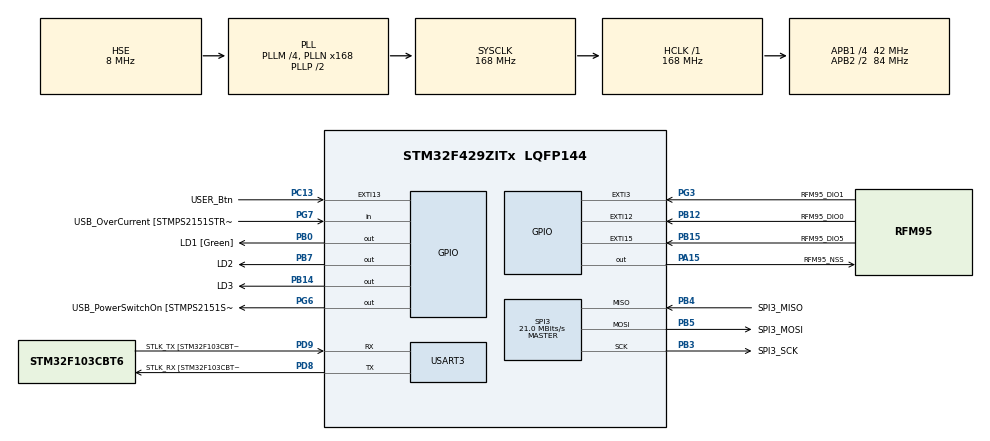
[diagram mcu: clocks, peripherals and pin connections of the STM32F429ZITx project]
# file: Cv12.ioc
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Mcu.Family=STM32F4
Mcu.Name=STM32F429ZITx
Mcu.Package=LQFP144
NVIC.EXTI15_10_IRQn=true\:0\:0\:false\:false\:true\:true\:true\:true
NVIC.EXTI3_IRQn=true\:0\:0\:false\:false\:true\:true\:true\:true
NVIC.PriorityGroup=NVIC_PRIORITYGROUP_4
PA1.GPIO_Label=RMII_REF_CLK [LAN8742A-CZ-TR_REFCLK0]
PA1.Signal=ETH_REF_CLK
PA10.GPIO_Label=USB_ID
PA10.Signal=USB_OTG_FS_ID
PA11.GPIO_Label=USB_DM
PA11.Signal=USB_OTG_FS_DM
PA12.GPIO_Label=USB_DP
PA12.Signal=USB_OTG_FS_DP
PA13.GPIO_Label=TMS
PA13.Mode=Serial_Wire
PA13.Signal=SYS_JTMS-SWDIO
PA14.GPIO_Label=TCK
PA14.Mode=Serial_Wire
PA14.Signal=SYS_JTCK-SWCLK
PA15.GPIO_Label=RFM95_NSS
PA15.Signal=GPIO_Output
PA2.GPIO_Label=RMII_MDIO [LAN8742A-CZ-TR_MDIO]
PA2.Signal=ETH_MDIO
PA7.GPIO_Label=RMII_CRS_DV [LAN8742A-CZ-TR_CRS_DV]
PA7.Signal=ETH_CRS_DV
PA8.GPIO_Label=USB_SOF [TP1]
PA8.Signal=USB_OTG_FS_SOF
PA9.GPIO_Label=USB_VBUS
PA9.Signal=USB_OTG_FS_VBUS
PB0.GPIO_Label=LD1 [Green]
PB0.Signal=GPIO_Output
PB12.GPIO_Label=RFM95_DIO0
PB12.Signal=GPXTI12
PB13.GPIO_Label=RMII_TXD1 [LAN8742A-CZ-TR_TXD1]
PB13.Signal=ETH_TXD1
PB14.GPIO_Label=LD3
PB14.Signal=GPIO_Output
PB15.GPIO_Label=RFM95_DIO5
PB15.Signal=GPXTI15
PB3.GPIO_Label=SPI3_SCK
PB3.Mode=Full_Duplex_Master
PB3.Signal=SPI3_SCK
PB4.GPIO_Label=SPI3_MISO
PB4.Mode=Full_Duplex_Master
PB4.Signal=SPI3_MISO
PB5.GPIO_Label=SPI3_MOSI
PB5.Mode=Full_Duplex_Master
PB5.Signal=SPI3_MOSI
PB7.GPIO_Label=LD2
PB7.Signal=GPIO_Output
PC1.GPIO_Label=RMII_MDC [LAN8742A-CZ-TR_MDC]
PC1.Signal=ETH_MDC
PC13.GPIO_Label=USER_Btn
PC13.GPIO_PuPd=GPIO_PULLUP
PC13.Signal=GPXTI13
PC14/OSC32_IN.Mode=LSE-External-Oscillator
PC14/OSC32_IN.Signal=RCC_OSC32_IN
PC15/OSC32_OUT.Mode=LSE-External-Oscillator
PC15/OSC32_OUT.Signal=RCC_OSC32_OUT
PC4.GPIO_Label=RMII_RXD0 [LAN8742A-CZ-TR_RXD0]
PC4.Signal=ETH_RXD0
PC5.GPIO_Label=RMII_RXD1 [LAN8742A-CZ-TR_RXD1]
PC5.Signal=ETH_RXD1
PD8.GPIO_Label=STLK_RX [STM32F103CBT6_PA3]
PD8.Mode=Asynchronous
PD8.Signal=USART3_TX
PD9.GPIO_Label=STLK_TX [STM32F103CBT6_PA2]
PD9.Mode=Asynchronous
PD9.Signal=USART3_RX
PG11.GPIO_Label=RMII_TX_EN [LAN8742A-CZ-TR_TXEN]
PG11.Signal=ETH_TX_EN
PG13.GPIO_Label=RMII_TXD0 [LAN8742A-CZ-TR_TXD0]
PG13.Signal=ETH_TXD0
PG3.GPIO_Label=RFM95_DIO1
PG3.Signal=GPXTI3
PG6.GPIO_Label=USB_PowerSwitchOn [STMPS2151STR_EN]
PG6.Signal=GPIO_Output
PG7.GPIO_Label=USB_OverCurrent [STMPS2151STR_FAULT]
PG7.Signal=GPIO_Input
PH0/OSC_IN.GPIO_Label=MCO [STM32F103CBT6_PA8]
PH0/OSC_IN.Mode=HSE-External-Clock-Source
PH0/OSC_IN.Signal=RCC_OSC_IN
PH1/OSC_OUT.Mode=HSE-External-Clock-Source
PH1/OSC_OUT.Signal=RCC_OSC_OUT
ProjectManager.HeapSize=0x200
ProjectManager.StackSize=0x400
ProjectManager.TargetToolchain=STM32CubeIDE
RCC.48MHZClocksFreq_Value=48000000
RCC.AHBFreq_Value=168000000
RCC.APB1CLKDivider=RCC_HCLK_DIV4
RCC.APB1Freq_Value=42000000
RCC.APB1TimFreq_Value=84000000
RCC.APB2CLKDivider=RCC_HCLK_DIV2
RCC.APB2Freq_Value=84000000
RCC.APB2TimCLKDivider=2
RCC.APB2TimFreq_Value=168000000
RCC.CortexFreq_Value=168000000
RCC.HCLKFreq_Value=168000000
RCC.HSE_VALUE=8000000
RCC.HSI_VALUE=16000000
RCC.PLLM=4
RCC.PLLMUL=RCC_PLL_MUL9
RCC.PLLN=168
RCC.PLLQ=7
RCC.PLLSourceVirtual=RCC_PLLSOURCE_HSE
RCC.PRESCALERUSB=RCC_USBCLKSOURCE_PLL_DIV1_5
RCC.SYSCLKFreq_VALUE=168000000
RCC.SYSCLKSource=RCC_SYSCLKSOURCE_PLLCLK
RCC.SYSCLKSourceVirtual=RCC_SYSCLKSOURCE_PLLCLK
RCC.USBFreq_Value=48000000
RCC.VCOOutputFreq_Value=336000000
SPI3.CalculateBaudRate=21.0 MBits/s
SPI3.Direction=SPI_DIRECTION_2LINES
SPI3.Mode=SPI_MODE_MASTER
SPI3.VirtualType=VM_MASTER
TIM2.Prescaler=4199
USART3.VirtualMode=VM_ASYNC
VP_RNG_VS_RNG.Mode=RNG_Activate
VP_TIM2_VS_ClockSourceINT.Mode=Internal
board=NUCLEO-F429ZI

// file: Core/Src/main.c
/* USER CODE BEGIN Header */
/**
  ******************************************************************************
  * @file           : main.c
  * @brief          : Main program body
  ******************************************************************************
  * @attention
  *
  * Copyright (c) 2025 STMicroelectronics.
  * All rights reserved.
  *
  * This software is licensed under terms that can be found in the LICENSE file
  * in the root directory of this software component.
  * If no LICENSE file comes with this software, it is provided AS-IS.
  *
  ******************************************************************************
  */
/* USER CODE END Header */
#include "main.h"

/* USER CODE BEGIN Includes */
#include "rfm95.h"
#include <stdio.h>
#include <string.h>
/* USER CODE END Includes */

RNG_HandleTypeDef hrng;

SPI_HandleTypeDef hspi3;

TIM_HandleTypeDef htim2;

UART_HandleTypeDef huart3;

/* USER CODE BEGIN PV */

rfm95_handle_t rfm95_handle;

static uint32_t get_precision_tick(void);
static void     precision_sleep_until(uint32_t target_ticks);
static uint8_t  random_int(uint8_t max);

static uint32_t last_send_tick = 0;
static uint32_t msg_counter = 0;

#define VUTID "246801"

static volatile uint8_t rfm95_ready = 0;

/* USER CODE END PV */

void SystemClock_Config(void);
static void MX_GPIO_Init(void);
static void MX_USART3_UART_Init(void);
static void MX_SPI3_Init(void);
static void MX_TIM2_Init(void);
static void MX_RNG_Init(void);

/* USER CODE BEGIN 0 */

static uint32_t get_precision_tick(void)
{
    return __HAL_TIM_GET_COUNTER(&htim2);
}

static void precision_sleep_until(uint32_t target_ticks)
{
    while (get_precision_tick() < target_ticks) {
        /* do nothing */
    }
}

static uint8_t random_int(uint8_t max)
{
    uint32_t rng;
    HAL_RNG_GenerateRandomNumber(&hrng, &rng);
    return (uint8_t)(rng % (max + 1u));
}

void HAL_GPIO_EXTI_Callback(uint16_t GPIO_Pin)
{
    if (!rfm95_ready) {
        return;
    }
    if (GPIO_Pin == RFM95_DIO0_Pin) {
        rfm95_on_interrupt(&rfm95_handle, RFM95_INTERRUPT_DIO0);
    } else if (GPIO_Pin == RFM95_DIO1_Pin) {
        rfm95_on_interrupt(&rfm95_handle, RFM95_INTERRUPT_DIO1);
    } else if (GPIO_Pin == RFM95_DIO5_Pin) {
        rfm95_on_interrupt(&rfm95_handle, RFM95_INTERRUPT_DIO5);
    }
}

/* USER CODE END 0 */

int main(void)
{

  /* MCU Configuration--------------------------------------------------------*/

  /* Reset of all peripherals, Initializes the Flash interface and the Systick. */
  HAL_Init();

  /* Configure the system clock */
  SystemClock_Config();

  /* Initialize all configured peripherals */
  MX_GPIO_Init();
  MX_USART3_UART_Init();
  MX_SPI3_Init();
  MX_TIM2_Init();
  MX_RNG_Init();
  /* USER CODE BEGIN 2 */

  HAL_TIM_Base_Start(&htim2);

  // Create the handle for the RFM95 module.

  memset(&rfm95_handle, 0, sizeof(rfm95_handle));

  rfm95_handle.spi_handle = &hspi3;
  rfm95_handle.nss_port   = RFM95_NSS_GPIO_Port;
  rfm95_handle.nss_pin    = RFM95_NSS_Pin;

  rfm95_handle.nrst_port  = NULL;
  rfm95_handle.nrst_pin   = 0;

  rfm95_handle.device_address[0] = 0x26;
  rfm95_handle.device_address[1] = 0x0B;
  rfm95_handle.device_address[2] = 0x04;
  rfm95_handle.device_address[3] = 0x76;

  uint8_t app_key[16] = {
      0x40, 0x0A, 0xE6, 0x65, 0x1A, 0xA8, 0x92, 0x92,
      0x12, 0xC0, 0x08, 0xEC, 0xC2, 0xC1, 0x53, 0x72
  };
  uint8_t net_key[16] = {
      0x80, 0x70, 0x52, 0xDA, 0x22, 0x5F, 0x54, 0xC3, 0xB8,
      0xDC, 0xAD, 0xA1, 0x8A, 0xF2, 0x85, 0x34
  };

  memcpy(rfm95_handle.application_session_key, app_key, 16);
  memcpy(rfm95_handle.network_session_key,     net_key, 16);

  rfm95_handle.precision_tick_frequency      = 20000;
  rfm95_handle.precision_tick_drift_ns_per_s = 5000;
  rfm95_handle.receive_mode                  = RFM95_RECEIVE_MODE_NONE;
  rfm95_handle.get_precision_tick            = get_precision_tick;
  rfm95_handle.precision_sleep_until         = precision_sleep_until;
  rfm95_handle.random_int                    = random_int;

  rfm95_handle.get_battery_level             = NULL;

  /*rfm95_handle_t rfm95_handle = {
		  .spi_handle = &hspi3,
		  .nss_port = RFM95_NSS_GPIO_Port,
		  .nss_pin = RFM95_NSS_Pin,
		  .device_address = {
				  0x26, 0x0B, 0x04, 0x76
		  },
		  .application_session_key = {
				  0x40, 0x0A, 0xE6, 0x65, 0x1A, 0xA8, 0x92, 0x92,
				  0x12, 0xC0, 0x08, 0xEC, 0xC2, 0xC1, 0x53, 0x72
		  },
		  .network_session_key = {
				  0x80, 0x70, 0x52, 0xDA, 0x22, 0x5F, 0x54, 0xC3, 0xB8,
				  0xDC, 0xAD, 0xA1, 0x8A, 0xF2, 0x85, 0x34
		  },
		  .receive_mode = RFM95_RECEIVE_MODE_NONE,
		  .precision_tick_frequency = 20000,
		  .receive_mode = RFM95_RECEIVE_MODE_RX12,
		  .get_precision_tick = get_precision_tick,
		  .precision_sleep_until = precision_sleep_until,
		  .random_int = random_int,
  };*/

  if (!rfm95_init(&rfm95_handle)) {
      HAL_GPIO_WritePin(LD3_GPIO_Port, LD3_Pin, GPIO_PIN_SET);
      while (1) {}
  }
  rfm95_ready = 1;

  /* USER CODE END 2 */

  /* Infinite loop */
  while (1)
  {

    /* USER CODE BEGIN 3 */
/*	  HAL_GPIO_WritePin(LD2_GPIO_Port, LD2_Pin, GPIO_PIN_SET);
      HAL_Delay(5000);
      HAL_GPIO_WritePin(LD2_GPIO_Port, LD2_Pin, GPIO_PIN_RESET);
      HAL_Delay(500);
*/

	  uint32_t now = HAL_GetTick();

	  static uint8_t last_btn_state = GPIO_PIN_SET;

	  uint8_t btn = HAL_GPIO_ReadPin(USER_Btn_GPIO_Port, USER_Btn_Pin);

	  if (last_btn_state == GPIO_PIN_SET && btn == GPIO_PIN_RESET)
	  {
	      char buf[32];
	      int len = snprintf(buf, sizeof(buf), "%s;press", VUTID);

	      HAL_GPIO_WritePin(LD2_GPIO_Port, LD2_Pin, GPIO_PIN_SET);
	      rfm95_send_receive_cycle(&rfm95_handle, (uint8_t*)buf, strlen(buf));
	      HAL_GPIO_WritePin(LD2_GPIO_Port, LD2_Pin, GPIO_PIN_RESET);
	  }

	  last_btn_state = btn;

	  HAL_Delay(10);

	  if (now - last_send_tick >= 30000) {

	      char buf[32];
	      int len = snprintf(buf, sizeof(buf), "%s;%lu", VUTID, msg_counter++);

	      HAL_GPIO_WritePin(LD2_GPIO_Port, LD2_Pin, GPIO_PIN_SET);
	      rfm95_send_receive_cycle(&rfm95_handle, (uint8_t*)buf, strlen(buf));
	      HAL_GPIO_WritePin(LD2_GPIO_Port, LD2_Pin, GPIO_PIN_RESET);

	      last_send_tick = now;
	  }

  }
  /* USER CODE END 3 */
}

void SystemClock_Config(void)
{
  RCC_OscInitTypeDef RCC_OscInitStruct = {0};
  RCC_ClkInitTypeDef RCC_ClkInitStruct = {0};

  /** Configure the main internal regulator output voltage
  */
  __HAL_RCC_PWR_CLK_ENABLE();
  __HAL_PWR_VOLTAGESCALING_CONFIG(PWR_REGULATOR_VOLTAGE_SCALE1);

  /** Initializes the RCC Oscillators according to the specified parameters
  * in the RCC_OscInitTypeDef structure.
  */
  RCC_OscInitStruct.OscillatorType = RCC_OSCILLATORTYPE_HSE;
  RCC_OscInitStruct.HSEState = RCC_HSE_BYPASS;
  RCC_OscInitStruct.PLL.PLLState = RCC_PLL_ON;
  RCC_OscInitStruct.PLL.PLLSource = RCC_PLLSOURCE_HSE;
  RCC_OscInitStruct.PLL.PLLM = 4;
  RCC_OscInitStruct.PLL.PLLN = 168;
  RCC_OscInitStruct.PLL.PLLP = RCC_PLLP_DIV2;
  RCC_OscInitStruct.PLL.PLLQ = 7;
  if (HAL_RCC_OscConfig(&RCC_OscInitStruct) != HAL_OK)
  {
    Error_Handler();
  }

  /** Initializes the CPU, AHB and APB buses clocks
  */
  RCC_ClkInitStruct.ClockType = RCC_CLOCKTYPE_HCLK|RCC_CLOCKTYPE_SYSCLK
                              |RCC_CLOCKTYPE_PCLK1|RCC_CLOCKTYPE_PCLK2;
  RCC_ClkInitStruct.SYSCLKSource = RCC_SYSCLKSOURCE_PLLCLK;
  RCC_ClkInitStruct.AHBCLKDivider = RCC_SYSCLK_DIV1;
  RCC_ClkInitStruct.APB1CLKDivider = RCC_HCLK_DIV4;
  RCC_ClkInitStruct.APB2CLKDivider = RCC_HCLK_DIV2;

  if (HAL_RCC_ClockConfig(&RCC_ClkInitStruct, FLASH_LATENCY_5) != HAL_OK)
  {
    Error_Handler();
  }
}

static void MX_RNG_Init(void)
{

  hrng.Instance = RNG;
  if (HAL_RNG_Init(&hrng) != HAL_OK)
  {
    Error_Handler();
  }

}

static void MX_SPI3_Init(void)
{

  /* SPI3 parameter configuration*/
  hspi3.Instance = SPI3;
  hspi3.Init.Mode = SPI_MODE_MASTER;
  hspi3.Init.Direction = SPI_DIRECTION_2LINES;
  hspi3.Init.DataSize = SPI_DATASIZE_8BIT;
  hspi3.Init.CLKPolarity = SPI_POLARITY_LOW;
  hspi3.Init.CLKPhase = SPI_PHASE_1EDGE;
  hspi3.Init.NSS = SPI_NSS_SOFT;
  hspi3.Init.BaudRatePrescaler = SPI_BAUDRATEPRESCALER_2;
  hspi3.Init.FirstBit = SPI_FIRSTBIT_MSB;
  hspi3.Init.TIMode = SPI_TIMODE_DISABLE;
  hspi3.Init.CRCCalculation = SPI_CRCCALCULATION_DISABLE;
  hspi3.Init.CRCPolynomial = 10;
  if (HAL_SPI_Init(&hspi3) != HAL_OK)
  {
    Error_Handler();
  }

}

static void MX_TIM2_Init(void)
{

  TIM_ClockConfigTypeDef sClockSourceConfig = {0};
  TIM_MasterConfigTypeDef sMasterConfig = {0};

  htim2.Instance = TIM2;
  htim2.Init.Prescaler = 4199;
  htim2.Init.CounterMode = TIM_COUNTERMODE_UP;
  htim2.Init.Period = 4294967295;
  htim2.Init.ClockDivision = TIM_CLOCKDIVISION_DIV1;
  htim2.Init.AutoReloadPreload = TIM_AUTORELOAD_PRELOAD_DISABLE;
  if (HAL_TIM_Base_Init(&htim2) != HAL_OK)
  {
    Error_Handler();
  }
  sClockSourceConfig.ClockSource = TIM_CLOCKSOURCE_INTERNAL;
  if (HAL_TIM_ConfigClockSource(&htim2, &sClockSourceConfig) != HAL_OK)
  {
    Error_Handler();
  }
  sMasterConfig.MasterOutputTrigger = TIM_TRGO_RESET;
  sMasterConfig.MasterSlaveMode = TIM_MASTERSLAVEMODE_DISABLE;
  if (HAL_TIMEx_MasterConfigSynchronization(&htim2, &sMasterConfig) != HAL_OK)
  {
    Error_Handler();
  }

}

static void MX_USART3_UART_Init(void)
{

  huart3.Instance = USART3;
  huart3.Init.BaudRate = 115200;
  huart3.Init.WordLength = UART_WORDLENGTH_8B;
  huart3.Init.StopBits = UART_STOPBITS_1;
  huart3.Init.Parity = UART_PARITY_NONE;
  huart3.Init.Mode = UART_MODE_TX_RX;
  huart3.Init.HwFlowCtl = UART_HWCONTROL_NONE;
  huart3.Init.OverSampling = UART_OVERSAMPLING_16;
  if (HAL_UART_Init(&huart3) != HAL_OK)
  {
    Error_Handler();
  }

}

static void MX_GPIO_Init(void)
{
  GPIO_InitTypeDef GPIO_InitStruct = {0};

  /* GPIO Ports Clock Enable */
  __HAL_RCC_GPIOC_CLK_ENABLE();
  __HAL_RCC_GPIOH_CLK_ENABLE();
  __HAL_RCC_GPIOA_CLK_ENABLE();
  __HAL_RCC_GPIOB_CLK_ENABLE();
  __HAL_RCC_GPIOD_CLK_ENABLE();
  __HAL_RCC_GPIOG_CLK_ENABLE();

  /*Configure GPIO pin Output Level */
  HAL_GPIO_WritePin(GPIOB, LD1_Pin|LD3_Pin|LD2_Pin, GPIO_PIN_RESET);

  /*Configure GPIO pin Output Level */
  HAL_GPIO_WritePin(USB_PowerSwitchOn_GPIO_Port, USB_PowerSwitchOn_Pin, GPIO_PIN_RESET);

  /*Configure GPIO pin Output Level */
  HAL_GPIO_WritePin(RFM95_NSS_GPIO_Port, RFM95_NSS_Pin, GPIO_PIN_RESET);

  /*Configure GPIO pin : USER_Btn_Pin */
  GPIO_InitStruct.Pin = USER_Btn_Pin;
  GPIO_InitStruct.Mode = GPIO_MODE_IT_RISING;
  GPIO_InitStruct.Pull = GPIO_PULLUP;
  HAL_GPIO_Init(USER_Btn_GPIO_Port, &GPIO_InitStruct);

  /*Configure GPIO pins : RMII_MDC_Pin RMII_RXD0_Pin RMII_RXD1_Pin */
  GPIO_InitStruct.Pin = RMII_MDC_Pin|RMII_RXD0_Pin|RMII_RXD1_Pin;
  GPIO_InitStruct.Mode = GPIO_MODE_AF_PP;
  GPIO_InitStruct.Pull = GPIO_NOPULL;
  GPIO_InitStruct.Speed = GPIO_SPEED_FREQ_VERY_HIGH;
  GPIO_InitStruct.Alternate = GPIO_AF11_ETH;
  HAL_GPIO_Init(GPIOC, &GPIO_InitStruct);

  /*Configure GPIO pins : RMII_REF_CLK_Pin RMII_MDIO_Pin RMII_CRS_DV_Pin */
  GPIO_InitStruct.Pin = RMII_REF_CLK_Pin|RMII_MDIO_Pin|RMII_CRS_DV_Pin;
  GPIO_InitStruct.Mode = GPIO_MODE_AF_PP;
  GPIO_InitStruct.Pull = GPIO_NOPULL;
  GPIO_InitStruct.Speed = GPIO_SPEED_FREQ_VERY_HIGH;
  GPIO_InitStruct.Alternate = GPIO_AF11_ETH;
  HAL_GPIO_Init(GPIOA, &GPIO_InitStruct);

  /*Configure GPIO pins : LD1_Pin LD3_Pin LD2_Pin */
  GPIO_InitStruct.Pin = LD1_Pin|LD3_Pin|LD2_Pin;
  GPIO_InitStruct.Mode = GPIO_MODE_OUTPUT_PP;
  GPIO_InitStruct.Pull = GPIO_NOPULL;
  GPIO_InitStruct.Speed = GPIO_SPEED_FREQ_LOW;
  HAL_GPIO_Init(GPIOB, &GPIO_InitStruct);

  /*Configure GPIO pins : RFM95_DIO0_Pin RFM95_DIO5_Pin */
  GPIO_InitStruct.Pin = RFM95_DIO0_Pin|RFM95_DIO5_Pin;
  GPIO_InitStruct.Mode = GPIO_MODE_IT_RISING;
  GPIO_InitStruct.Pull = GPIO_NOPULL;
  HAL_GPIO_Init(GPIOB, &GPIO_InitStruct);

  /*Configure GPIO pin : RMII_TXD1_Pin */
  GPIO_InitStruct.Pin = RMII_TXD1_Pin;
  GPIO_InitStruct.Mode = GPIO_MODE_AF_PP;
  GPIO_InitStruct.Pull = GPIO_NOPULL;
  GPIO_InitStruct.Speed = GPIO_SPEED_FREQ_VERY_HIGH;
  GPIO_InitStruct.Alternate = GPIO_AF11_ETH;
  HAL_GPIO_Init(RMII_TXD1_GPIO_Port, &GPIO_InitStruct);

  /*Configure GPIO pin : RFM95_DIO1_Pin */
  GPIO_InitStruct.Pin = RFM95_DIO1_Pin;
  GPIO_InitStruct.Mode = GPIO_MODE_IT_RISING;
  GPIO_InitStruct.Pull = GPIO_NOPULL;
  HAL_GPIO_Init(RFM95_DIO1_GPIO_Port, &GPIO_InitStruct);

  /*Configure GPIO pin : USB_PowerSwitchOn_Pin */
  GPIO_InitStruct.Pin = USB_PowerSwitchOn_Pin;
  GPIO_InitStruct.Mode = GPIO_MODE_OUTPUT_PP;
  GPIO_InitStruct.Pull = GPIO_NOPULL;
  GPIO_InitStruct.Speed = GPIO_SPEED_FREQ_LOW;
  HAL_GPIO_Init(USB_PowerSwitchOn_GPIO_Port, &GPIO_InitStruct);

  /*Configure GPIO pin : USB_OverCurrent_Pin */
  GPIO_InitStruct.Pin = USB_OverCurrent_Pin;
  GPIO_InitStruct.Mode = GPIO_MODE_INPUT;
  GPIO_InitStruct.Pull = GPIO_NOPULL;
  HAL_GPIO_Init(USB_OverCurrent_GPIO_Port, &GPIO_InitStruct);

  /*Configure GPIO pins : USB_SOF_Pin USB_ID_Pin USB_DM_Pin USB_DP_Pin */
  GPIO_InitStruct.Pin = USB_SOF_Pin|USB_ID_Pin|USB_DM_Pin|USB_DP_Pin;
  GPIO_InitStruct.Mode = GPIO_MODE_AF_PP;
  GPIO_InitStruct.Pull = GPIO_NOPULL;
  GPIO_InitStruct.Speed = GPIO_SPEED_FREQ_VERY_HIGH;
  GPIO_InitStruct.Alternate = GPIO_AF10_OTG_FS;
  HAL_GPIO_Init(GPIOA, &GPIO_InitStruct);

  /*Configure GPIO pin : USB_VBUS_Pin */
  GPIO_InitStruct.Pin = USB_VBUS_Pin;
  GPIO_InitStruct.Mode = GPIO_MODE_INPUT;
  GPIO_InitStruct.Pull = GPIO_NOPULL;
  HAL_GPIO_Init(USB_VBUS_GPIO_Port, &GPIO_InitStruct);

  /*Configure GPIO pin : RFM95_NSS_Pin */
  GPIO_InitStruct.Pin = RFM95_NSS_Pin;
  GPIO_InitStruct.Mode = GPIO_MODE_OUTPUT_PP;
  GPIO_InitStruct.Pull = GPIO_NOPULL;
  GPIO_InitStruct.Speed = GPIO_SPEED_FREQ_LOW;
  HAL_GPIO_Init(RFM95_NSS_GPIO_Port, &GPIO_InitStruct);

  /*Configure GPIO pins : RMII_TX_EN_Pin RMII_TXD0_Pin */
  GPIO_InitStruct.Pin = RMII_TX_EN_Pin|RMII_TXD0_Pin;
  GPIO_InitStruct.Mode = GPIO_MODE_AF_PP;
  GPIO_InitStruct.Pull = GPIO_NOPULL;
  GPIO_InitStruct.Speed = GPIO_SPEED_FREQ_VERY_HIGH;
  GPIO_InitStruct.Alternate = GPIO_AF11_ETH;
  HAL_GPIO_Init(GPIOG, &GPIO_InitStruct);

  /* EXTI interrupt init*/
  HAL_NVIC_SetPriority(EXTI3_IRQn, 0, 0);
  HAL_NVIC_EnableIRQ(EXTI3_IRQn);

  HAL_NVIC_SetPriority(EXTI15_10_IRQn, 0, 0);
  HAL_NVIC_EnableIRQ(EXTI15_10_IRQn);

}

void Error_Handler(void)
{
  __disable_irq();
  while (1)
  {
  }
}
